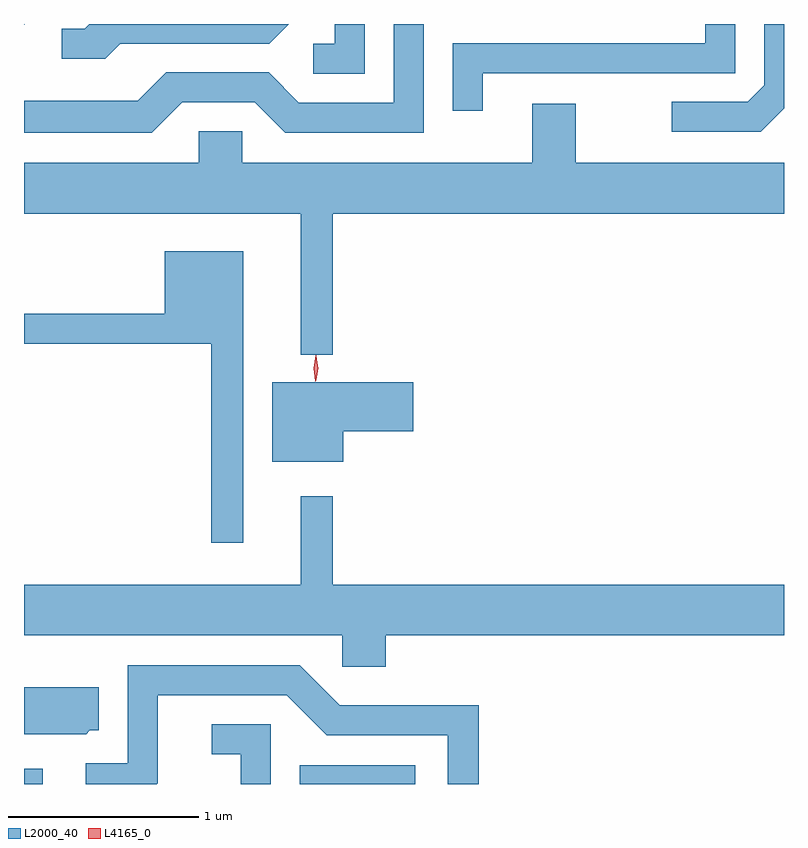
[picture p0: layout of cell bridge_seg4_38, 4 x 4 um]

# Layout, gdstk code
import gdstk
lib = gdstk.Library(unit=1e-6, precision=1e-09)
def R(c, l, rs):  # rectangles x0, y0, x1, y1
    for r in rs: c.add(gdstk.rectangle(r[:2], r[2:], *l))
def P(c, l, *ps):  # polygons
    for p in ps: c.add(gdstk.Polygon(p, *l))
L2000_40 = (2000, 40)
L4165_0 = (4165, 0)

bridge_seg4_38 = lib.new_cell('bridge_seg4_38')
R(bridge_seg4_38, L2000_40, [(1277.195,1369.434,1277.294,1369.513), (1278.646,1369.434,1279.254,1369.534)])
P(bridge_seg4_38, L2000_40, [(1277.199,1373.434),(1277.195,1373.434),(1277.195,1373.43)],
  [(1278.027,1373.021),(1278.409,1373.021),(1278.569,1372.861),(1279.299,1372.861),(1279.299,1373.434),(1279.141,1373.434),(1279.141,1373.019),(1278.642,1373.019),(1278.482,1373.179),(1277.944,1373.179),(1277.794,1373.029),(1277.195,1373.029),(1277.195,1372.861),(1277.867,1372.861)],
  [(1278.989,1373.434),(1278.831,1373.434),(1278.831,1373.329),(1278.718,1373.329),(1278.718,1373.171),(1278.989,1373.171)],
  [(1281.195,1372.99),(1281.195,1373.434),(1281.091,1373.434),(1281.091,1373.112),(1281.004,1373.024),(1280.603,1373.024),(1280.603,1372.866),(1281.072,1372.866)],
  [(1277.702,1373.331),(1278.487,1373.331),(1278.589,1373.434),(1277.539,1373.434),(1277.514,1373.409),(1277.393,1373.409),(1277.393,1373.251),(1277.622,1373.251)],
  [(1279.609,1373.176),(1280.939,1373.176),(1280.939,1373.434),(1280.781,1373.434),(1280.781,1373.334),(1279.451,1373.334),(1279.451,1372.978),(1279.609,1372.978)],
  [(1278.819,1372.436),(1281.195,1372.436),(1281.195,1372.704),(1280.099,1372.704),(1280.099,1373.014),(1279.871,1373.014),(1279.871,1372.704),(1278.344,1372.704),(1278.344,1372.869),(1278.116,1372.869),(1278.116,1372.704),(1277.195,1372.704),(1277.195,1372.436),(1278.651,1372.436),(1278.651,1371.693),(1278.819,1371.693)],
  [(1278.349,1372.239),(1277.936,1372.239),(1277.936,1371.909),(1277.195,1371.909),(1277.195,1371.751),(1278.181,1371.751),(1278.181,1370.703),(1278.349,1370.703)],
  [(1278.874,1371.291),(1279.244,1371.291),(1279.244,1371.549),(1278.501,1371.549),(1278.501,1371.131),(1278.874,1371.131)],
  [(1279.099,1370.216),(1281.195,1370.216),(1281.195,1370.484),(1278.819,1370.484),(1278.819,1370.948),(1278.651,1370.948),(1278.651,1370.484),(1277.195,1370.484),(1277.195,1370.216),(1278.871,1370.216),(1278.871,1370.051),(1279.099,1370.051)],
  [(1277.899,1369.439),(1277.899,1369.901),(1278.579,1369.901),(1278.789,1369.691),(1279.426,1369.691),(1279.426,1369.434),(1279.589,1369.434),(1279.589,1369.849),(1278.857,1369.849),(1278.647,1370.059),(1277.741,1370.059),(1277.741,1369.544),(1277.521,1369.544),(1277.521,1369.434),(1277.894,1369.434)],
  [(1277.542,1369.716),(1277.589,1369.716),(1277.589,1369.944),(1277.195,1369.944),(1277.195,1369.696),(1277.522,1369.696)],
  [(1278.494,1369.749),(1278.183,1369.749),(1278.183,1369.591),(1278.336,1369.591),(1278.336,1369.434),(1278.494,1369.434)])
P(bridge_seg4_38, L4165_0, [(1278.729,1371.554),(1278.721,1371.622),(1278.731,1371.69),(1278.732,1371.69),(1278.732,1371.69),(1278.741,1371.622),(1278.73,1371.554),(1278.73,1371.554)],
  [(1278.733,1371.56),(1278.733,1371.56),(1278.723,1371.623),(1278.733,1371.686),(1278.733,1371.687),(1278.734,1371.686),(1278.743,1371.623),(1278.734,1371.56)])

lib.write_gds('bridge_seg4_38.gds')
